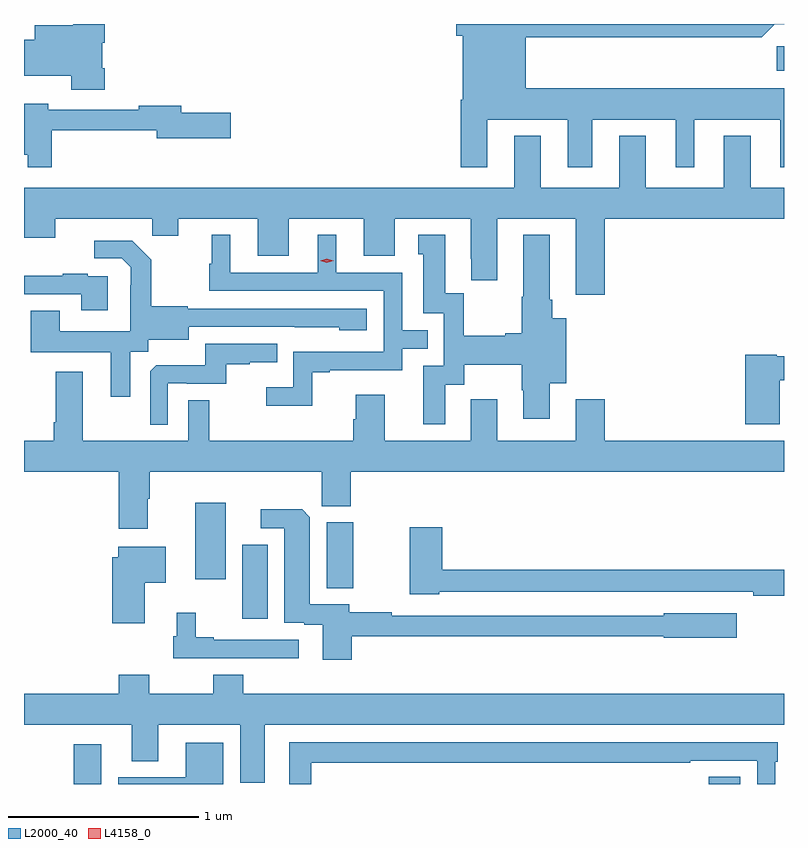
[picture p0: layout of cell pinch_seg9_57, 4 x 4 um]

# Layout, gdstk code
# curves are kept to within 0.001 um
import gdstk
lib = gdstk.Library(unit=1e-6, precision=1e-09)
def R(c, l, rs):  # rectangles x0, y0, x1, y1
    for r in rs: c.add(gdstk.rectangle(r[:2], r[2:], *l))
def P(c, l, *ps):  # polygons
    for p in ps: c.add(gdstk.Polygon(p, *l))
L2000_40 = (2000, 40)
L4158_0 = (4158, 0)

pinch_seg9_57 = lib.new_cell('pinch_seg9_57')
R(pinch_seg9_57, L2000_40, [(910.826,1182.789,910.972,1182.997), (914.168,1182.789,914.335,1182.827), (911.714,1183.658,911.848,1184.047), (912.158,1183.819,912.298,1184.166), (911.465,1183.866,911.626,1184.269), (914.526,1186.544,914.565,1186.673)])
P(pinch_seg9_57, L2000_40, [(913.003,1186.286),(913.427,1186.286),(913.427,1186.035),(913.555,1186.035),(913.555,1186.286),(913.994,1186.286),(913.994,1186.035),(914.092,1186.035),(914.092,1186.286),(914.546,1186.286),(914.546,1186.035),(914.565,1186.035),(914.565,1186.45),(913.207,1186.45),(913.207,1186.72),(914.191,1186.72),(914.191,1186.718),(914.447,1186.718),(914.517,1186.788),(914.565,1186.789),(912.839,1186.789),(912.839,1186.728),(912.875,1186.728),(912.875,1186.39),(912.863,1186.39),(912.863,1186.035),(913.003,1186.035)],
  [(910.991,1186.555),(910.978,1186.555),(910.978,1186.691),(910.991,1186.691),(910.991,1186.789),(910.824,1186.789),(910.824,1186.783),(910.622,1186.783),(910.622,1186.705),(910.565,1186.705),(910.565,1186.517),(910.813,1186.517),(910.813,1186.443),(910.991,1186.443)],
  [(910.712,1186.23),(911.264,1186.23),(911.264,1186.187),(911.653,1186.187),(911.653,1186.322),(911.392,1186.322),(911.392,1186.358),(911.168,1186.358),(911.168,1186.338),(910.693,1186.338),(910.693,1186.369),(910.565,1186.369),(910.565,1186.1),(910.584,1186.1),(910.584,1186.035),(910.712,1186.035)],
  [(913.622,1185.764),(914.565,1185.764),(914.565,1185.928),(914.389,1185.928),(914.389,1186.201),(914.249,1186.201),(914.249,1185.928),(913.837,1185.928),(913.837,1186.201),(913.697,1186.201),(913.697,1185.928),(913.285,1185.928),(913.285,1186.201),(913.145,1186.201),(913.145,1185.928),(910.565,1185.928),(910.565,1185.665),(910.729,1185.665),(910.729,1185.764),(911.239,1185.764),(911.239,1185.674),(911.377,1185.674),(911.377,1185.764),(911.795,1185.764),(911.795,1185.57),(911.959,1185.57),(911.959,1185.764),(912.353,1185.764),(912.353,1185.57),(912.517,1185.57),(912.517,1185.764),(912.917,1185.764),(912.917,1185.553),(912.92,1185.553),(912.92,1185.441),(913.057,1185.441),(913.057,1185.764),(913.469,1185.764),(913.469,1185.363),(913.622,1185.363)],
  [(912.081,1184.955),(912.175,1184.955),(912.175,1184.967),(912.555,1184.967),(912.555,1185.081),(912.689,1185.081),(912.689,1185.177),(912.555,1185.177),(912.555,1185.48),(912.208,1185.48),(912.208,1185.679),(912.11,1185.679),(912.11,1185.48),(911.65,1185.48),(911.65,1185.679),(911.552,1185.679),(911.552,1185.528),(911.541,1185.528),(911.541,1185.384),(912.459,1185.384),(912.459,1185.063),(911.982,1185.063),(911.982,1184.878),(911.841,1184.878),(911.841,1184.78),(912.081,1184.78)],
  [(912.781,1184.89),(912.883,1184.89),(912.883,1184.996),(913.186,1184.996),(913.186,1184.862),(913.193,1184.862),(913.193,1184.712),(913.333,1184.712),(913.333,1184.897),(913.42,1184.897),(913.42,1185.241),(913.346,1185.241),(913.346,1185.337),(913.333,1185.337),(913.333,1185.679),(913.193,1185.679),(913.193,1185.353),(913.186,1185.353),(913.186,1185.161),(913.097,1185.161),(913.097,1185.148),(912.879,1185.148),(912.879,1185.371),(912.781,1185.371),(912.781,1185.679),(912.641,1185.679),(912.641,1185.576),(912.665,1185.576),(912.665,1185.267),(912.774,1185.267),(912.774,1184.991),(912.665,1184.991),(912.665,1184.682),(912.781,1184.682)],
  [(911.125,1185.064),(911.22,1185.064),(911.22,1185.128),(911.431,1185.128),(911.431,1185.195),(912.225,1185.194),(912.225,1185.176),(912.37,1185.176),(912.37,1185.291),(911.427,1185.291),(911.427,1185.304),(911.235,1185.304),(911.235,1185.549),(911.135,1185.649),(910.935,1185.649),(910.935,1185.555),(911.079,1185.555),(911.126,1185.508),(911.126,1185.413),(911.124,1185.413),(911.124,1185.172),(910.753,1185.172),(910.753,1185.281),(910.601,1185.281),(910.601,1185.062),(911.021,1185.062),(911.021,1184.826),(911.125,1184.826)],
  [(911.005,1185.462),(910.901,1185.462),(910.901,1185.475),(910.769,1185.475),(910.769,1185.464),(910.565,1185.464),(910.565,1185.366),(910.865,1185.366),(910.865,1185.282),(911.005,1185.282)],
  [(911.322,1184.898),(911.422,1184.898),(911.422,1184.895),(911.63,1184.895),(911.63,1184.997),(911.753,1184.997),(911.753,1185.008),(911.897,1185.008),(911.897,1185.105),(911.52,1185.105),(911.52,1184.993),(911.261,1184.993),(911.229,1184.961),(911.229,1184.681),(911.322,1184.681)],
  [(914.543,1184.913),(914.565,1184.913),(914.565,1185.041),(914.526,1185.041),(914.526,1185.049),(914.36,1185.049),(914.36,1184.682),(914.543,1184.682)],
  [(911.215,1184.291),(911.228,1184.291),(911.228,1184.432),(912.133,1184.432),(912.133,1184.251),(912.284,1184.251),(912.284,1184.432),(914.565,1184.432),(914.565,1184.596),(913.622,1184.596),(913.622,1184.815),(913.469,1184.815),(913.469,1184.596),(913.057,1184.596),(913.057,1184.815),(912.917,1184.815),(912.917,1184.596),(912.463,1184.596),(912.463,1184.839),(912.311,1184.839),(912.311,1184.709),(912.299,1184.709),(912.299,1184.596),(911.539,1184.596),(911.539,1184.81),(911.43,1184.81),(911.43,1184.596),(910.873,1184.596),(910.873,1184.959),(910.733,1184.959),(910.733,1184.692),(910.721,1184.692),(910.721,1184.596),(910.565,1184.596),(910.565,1184.432),(911.063,1184.432),(911.063,1184.133),(911.215,1184.133)],
  [(912.29,1183.566),(913.932,1183.566),(913.932,1183.558),(914.317,1183.558),(914.317,1183.687),(913.932,1183.687),(913.932,1183.674),(912.5,1183.674),(912.5,1183.694),(912.277,1183.694),(912.277,1183.734),(912.07,1183.734),(912.07,1184.192),(912.029,1184.234),(911.811,1184.234),(911.811,1184.136),(911.936,1184.136),(911.936,1183.638),(912.041,1183.638),(912.041,1183.626),(912.137,1183.626),(912.137,1183.443),(912.29,1183.443)],
  [(914.565,1183.916),(912.767,1183.916),(912.767,1184.14),(912.596,1184.14),(912.596,1183.787),(912.75,1183.787),(912.75,1183.8),(914.404,1183.8),(914.404,1183.78),(914.565,1183.78)],
  [(911.2,1183.847),(911.311,1183.847),(911.311,1184.038),(911.06,1184.038),(911.06,1183.983),(911.03,1183.983),(911.03,1183.635),(911.2,1183.635)],
  [(912.01,1183.548),(911.563,1183.548),(911.563,1183.561),(911.469,1183.561),(911.469,1183.69),(911.369,1183.69),(911.369,1183.566),(911.35,1183.566),(911.35,1183.452),(912.01,1183.452)],
  [(911.833,1183.1),(914.565,1183.1),(914.565,1183.264),(911.72,1183.264),(911.72,1183.363),(911.56,1183.363),(911.56,1183.264),(911.223,1183.264),(911.223,1183.363),(911.063,1183.363),(911.063,1183.264),(910.565,1183.264),(910.565,1183.1),(911.132,1183.1),(911.132,1182.91),(911.272,1182.91),(911.272,1183.1),(911.702,1183.1),(911.702,1182.796),(911.833,1182.796)],
  [(912.077,1182.9),(914.072,1182.9),(914.072,1182.912),(914.424,1182.912),(914.424,1182.789),(914.52,1182.789),(914.52,1182.905),(914.533,1182.905),(914.533,1183.008),(911.961,1183.008),(911.961,1182.789),(912.077,1182.789)],
  [(911.613,1183.006),(911.417,1183.006),(911.417,1182.825),(911.061,1182.825),(911.061,1182.789),(911.613,1182.789)])
P(pinch_seg9_57, L4158_0, [(912.159,1185.533),(912.123,1185.543),(912.123,1185.543),(912.123,1185.544),(912.159,1185.553),(912.195,1185.544),(912.195,1185.543),(912.195,1185.543)])

lib.write_gds('pinch_seg9_57.gds')
